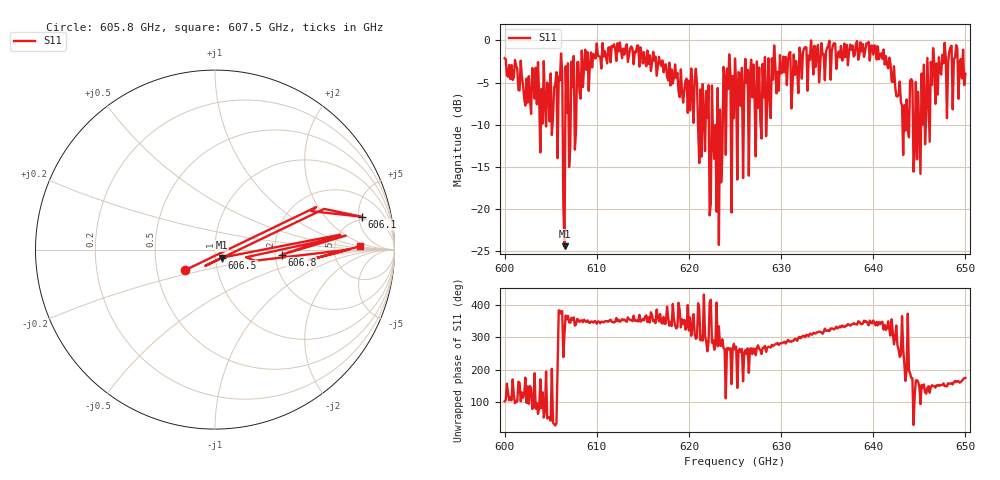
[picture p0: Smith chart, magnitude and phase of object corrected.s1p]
!Created with skrf (http://scikit-rf.org).
# GHz S MA R 50.0
!freq magS11 angS11
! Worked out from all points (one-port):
!   401 points, 600 GHz to 650 GHz, reference 50 ohm
!   lowest |S11| = -24.4 dB at 606.5 GHz (marker M1), VSWR 1.13, Z = 54 - j4.8 ohm
!   |S11| at or under -10 dB: 606.2995 GHz to 606.5844 GHz (284.9 MHz wide, 0.047 % of centre); 606.949 GHz to 607.1581 GHz (209 MHz wide, 0.0344 % of centre); 622.5865 GHz to 623.0879 GHz (501.5 MHz wide, 0.0805 % of centre) (the widest 3 of 30)
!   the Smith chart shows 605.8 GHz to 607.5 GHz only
!   S11 on the Smith chart (normalised r, x): 605.8 GHz: 0.70, -0.17; 606.1 GHz: 4.46, +5.48; 606.5 GHz: 1.08, -0.10; 606.8 GHz: 2.17, -0.15; 607.5 GHz: 9.36, +1.02
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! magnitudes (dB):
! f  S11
! 600 GHz  -2.1
! 602.2 GHz  -7.7
! 603.4 GHz  -3.2
! 603.9 GHz  -13.3
! 605.8 GHz  -14.0
! 606.1 GHz  -1.5
! 606.2 GHz  -3.8
! 606.5 GHz  -24.4
! 606.8 GHz  -8.6
! 607.5 GHz  -1.8
! 608.6 GHz  -3.1
! 612.5 GHz  -0.2
! 618.8 GHz  -3.8
! 620.5 GHz  -9.8
! 621.1 GHz  -14.6
! 621.9 GHz  -6.0
! 622.5 GHz  -5.4
! 622.6 GHz  -12.1
! 623.2 GHz  -24.3
! 624 GHz  -13.6
! 625 GHz  -2.1
! 631.2 GHz  -5.2
! 637.5 GHz  -0.5
! 641.1 GHz  -1.1
! 643.8 GHz  -10.4
! 645 GHz  -11.0
! 647.6 GHz  -2.7
! 650 GHz  -3.9
